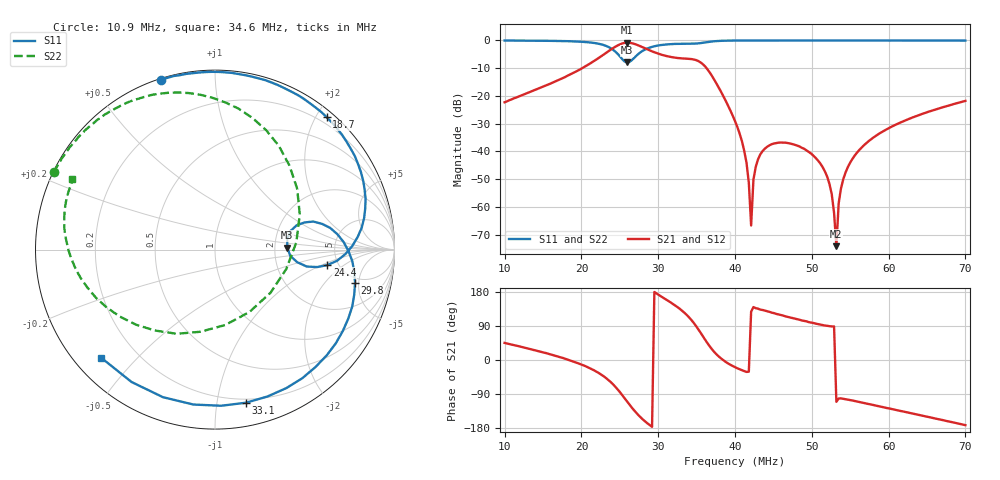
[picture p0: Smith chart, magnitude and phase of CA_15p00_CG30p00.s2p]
#  HZ  S  RI  R  50.00
! Rohde & Schwarz ZVT8 8Ports - Version 4.11 - 1300.0000k08 SN: 100242
! Date: 2026-07-31 14:20:05
! Measurements: S11 S21 S12 S22
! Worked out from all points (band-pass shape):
!   201 points, 10 MHz to 70 MHz, reference 50 ohm
!   highest |S21| = -0.83 dB at 25.9 MHz (marker M1); lowest = -74.1 dB at 53.2 MHz (marker M2)
!   |S21| within 3 dB of the highest: 23.55 MHz to 29.11 MHz (5.563 MHz wide, 21.1 % of centre)
!   lowest |S11| = -7.9 dB at 25.9 MHz (marker M3), VSWR 2.35, Z = 117 + j3.26 ohm
!   |S11| at or under -10 dB: nowhere
!   |S22| runs from -8.1 to 0.0 dB; largest |S21 - S12| = 0.0034
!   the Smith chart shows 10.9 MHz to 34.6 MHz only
!   S11 on the Smith chart (normalised r, x): 10.9 MHz: 0.00, +0.73; 18.7 MHz: 0.10, +2.15; 24.4 MHz: 4.08, -1.17; 29.8 MHz: 4.35, -4.48; 33.1 MHz: 0.17, -1.21; 34.6 MHz: 0.08, -0.40
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1e7  -0.4031 0.9112  0.0544 0.0544  0.0543 0.0546  -0.916 0.393
1.09e7  -0.3021 0.947  0.0656 0.0565  0.0657 0.0565  -0.8985 0.4318
1.87e7  0.6216 0.7383  0.2499 -0.00926  0.2492 -0.0097  -0.5713 0.7773
2.02e7  0.7554 0.5637  0.3131 -0.0754  0.3124 -0.0751  -0.4253 0.8412
2.44e7  0.6263 -0.0862  0.2599 -0.7228  0.2596 -0.7239  0.4144 0.469
2.59e7  0.4025 0.0116  -0.2828 -0.8639  -0.2843 -0.8645  0.3098 -0.2399
2.98e7  0.7802 -0.1842  -0.5889 0.048  -0.59 0.0474  -0.7993 -0.0536
3.01e7  0.776 -0.2496  -0.5664 0.0862  -0.5658 0.0843  -0.8154 -0.00634
3.31e7  0.1729 -0.8531  -0.3064 0.3628  -0.3066 0.3636  -0.8186 0.3143
3.46e7  -0.6338 -0.6027  -0.0681 0.4494  -0.0681 0.4489  -0.7973 0.3917
3.67e7  -0.2282 0.9201  0.2142 0.1575  0.2142 0.1573  -0.811 0.5162
4e7  0.9887 0.101  0.0333 -0.0115  0.0333 -0.0115  -0.699 0.7122
4.15e7  0.9567 -0.2745  0.00533 -0.00327  0.00537 -0.0032  -0.6393 0.7658
4.21e7  0.9149 -0.395  -0.000283 0.000367  -0.000258 0.0004  -0.6169 0.7844
4.24e7  0.8891 -0.4484  -0.00237 0.00201  -0.00235 0.00206  -0.6069 0.7932
4.36e7  0.7698 -0.6332  -0.00681 0.00756  -0.00679 0.00759  -0.5609 0.8263
5.02e7  -0.0686 -0.9958  -0.00113 0.00834  -0.00115 0.00835  -0.3155 0.9462
5.23e7  -0.3264 -0.9431  3.5e-05 0.0026  7.87e-05 0.00261  -0.2363 0.9686
5.32e7  -0.428 -0.9023  -6.87e-05 -0.000184  -7.28e-05 -0.000201  -0.2027 0.9767
5.47e7  -0.5817 -0.8105  -0.00131 -0.00508  -0.00131 -0.0051  -0.1455 0.9859
6.01e7  -0.9473 -0.3074  -0.0164 -0.0211  -0.0163 -0.021  0.0609 0.995
7e7  -0.6718 0.7317  -0.0807 -0.0114  -0.0806 -0.0115  0.4372 0.8927
